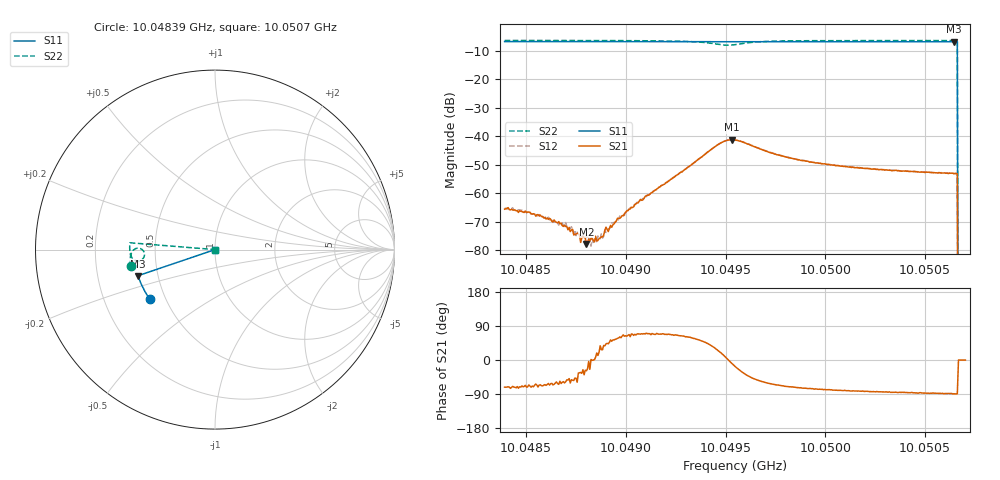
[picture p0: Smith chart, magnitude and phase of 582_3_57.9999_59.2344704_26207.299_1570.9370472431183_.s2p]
#  HZ  S  RI  R  50.00
! Rohde & Schwarz Vector Network Analyzer
! Rohde-Schwarz,ZNB20-2Port,1311601062101988,3.16
! Created: UTC 3/21/2024, 1:16:22 AM
! freq[Hz]  re:S11  im:S11  re:S21  im:S21  re:S12  im:S12  re:S22  im:S22
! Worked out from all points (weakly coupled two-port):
!   401 points, 10.04839 GHz to 10.0507 GHz, reference 50 ohm
!   highest |S21| = -41.22 dB at 10.04953 GHz (marker M1); lowest = -77.7 dB at 10.0488 GHz (marker M2)
!   lowest |S11| = -6.9 dB at 10.05064 GHz (marker M3), VSWR 2.65, Z = 19.3 - j7.1 ohm
!   |S11| at or under -10 dB: 10.05066 GHz to end of sweep
!   |S22| runs from - to -6.4 dB; largest |S21 - S12| = 0.00066
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1.0048393e10  -0.3621 -0.2776  0.000167 -0.000502  0.000196 -0.000508  -0.4681 -0.0929
1.0048508e10  -0.3666 -0.2713  0.000154 -0.000446  0.000194 -0.000423  -0.4692 -0.0845
1.0048653e10  -0.3719 -0.2634  0.000165 -0.000264  0.000163 -0.000265  -0.4704 -0.0739
1.004871e10  -0.374 -0.2602  0.000139 -0.000182  0.000146 -0.00022  -0.4708 -0.0693
1.004878e10  -0.3765 -0.2564  0.000135 -9.55e-05  0.000149 -8.48e-05  -0.4713 -0.0638
1.0048803e10  -0.3773 -0.2551  0.000115 -6.26e-05  0.000167 -8.37e-05  -0.4714 -0.062
1.0048832e10  -0.3783 -0.2535  0.000164 -2.64e-06  0.00016 3.18e-06  -0.4717 -0.0596
1.0048878e10  -0.38 -0.2509  0.000155 7.94e-05  0.000159 0.000115  -0.4714 -0.0557
1.0048907e10  -0.3809 -0.2493  0.000168 0.000162  0.000163 0.000153  -0.4717 -0.0532
1.0048941e10  -0.3821 -0.2474  0.000176 0.000234  0.000179 0.000251  -0.4716 -0.05
1.0049011e10  -0.3844 -0.2435  0.00021 0.00045  0.000191 0.000465  -0.4714 -0.0435
1.0049166e10  -0.3895 -0.2345  0.000475 0.00118  0.000402 0.00122  -0.4686 -0.0267
1.0049461e10  -0.398 -0.2171  0.00639 0.00309  0.00615 0.00355  -0.4097 0.00275
1.004953e10  -0.3998 -0.2136  0.0086 -0.00125  0.0087 -0.000616  -0.3941 -0.0377
1.0049547e10  -0.4003 -0.2128  0.00825 -0.0025  0.0084 -0.00195  -0.3994 -0.0482
1.0049755e10  -0.4068 -0.2007  0.00195 -0.00437  0.00225 -0.00429  -0.463 -0.0447
1.0049934e10  -0.4118 -0.19  0.000879 -0.0034  0.00106 -0.00338  -0.4723 -0.0218
1.0050321e10  -0.4213 -0.1663  0.00026 -0.00253  0.000386 -0.00253  -0.4754 0.0128
1.0050644e10  -0.428 -0.1464  3.93e-05 -0.00222  0.000153 -0.00222  -0.4744 0.0369
1.005065e10  -0.4282 -0.146  1.85e-05 -0.00223  0.000171 -0.00222  -0.4744 0.0372
1.0050679e10  0 0  0 0  0 0  0 0
1.0050702e10  0 0  0 0  0 0  0 0
